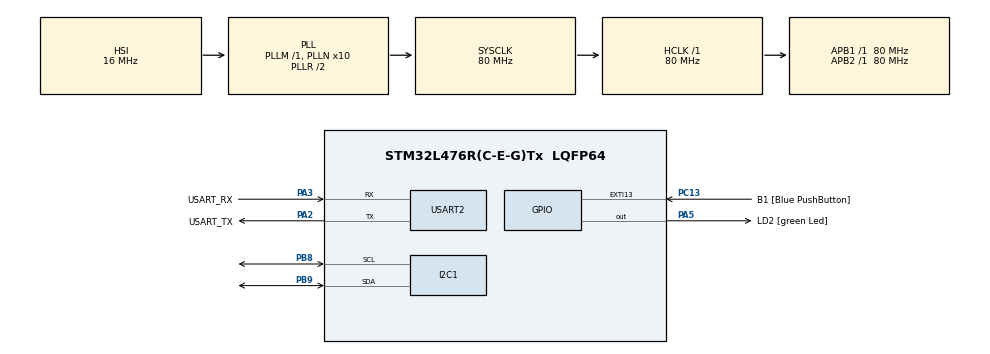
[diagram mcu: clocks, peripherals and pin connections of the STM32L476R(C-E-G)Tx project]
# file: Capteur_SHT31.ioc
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I2C1.Timing=0x10909CEC
Mcu.Family=STM32L4
Mcu.Name=STM32L476R(C-E-G)Tx
Mcu.Package=LQFP64
NVIC.PriorityGroup=NVIC_PRIORITYGROUP_4
PA13\ (JTMS-SWDIO).GPIO_Label=TMS
PA13\ (JTMS-SWDIO).Mode=Serial_Wire
PA13\ (JTMS-SWDIO).Signal=SYS_JTMS-SWDIO
PA14\ (JTCK-SWCLK).GPIO_Label=TCK
PA14\ (JTCK-SWCLK).Mode=Serial_Wire
PA14\ (JTCK-SWCLK).Signal=SYS_JTCK-SWCLK
PA2.GPIO_Label=USART_TX
PA2.GPIO_Mode=GPIO_MODE_AF_PP
PA2.GPIO_PuPd=GPIO_NOPULL
PA2.GPIO_Speed=GPIO_SPEED_FREQ_VERY_HIGH
PA2.Mode=Asynchronous
PA2.Signal=USART2_TX
PA3.GPIO_Label=USART_RX
PA3.GPIO_Mode=GPIO_MODE_AF_PP
PA3.GPIO_PuPd=GPIO_NOPULL
PA3.GPIO_Speed=GPIO_SPEED_FREQ_VERY_HIGH
PA3.Mode=Asynchronous
PA3.Signal=USART2_RX
PA5.GPIO_Label=LD2 [green Led]
PA5.GPIO_ModeDefaultOutputPP=GPIO_MODE_OUTPUT_PP
PA5.GPIO_PuPd=GPIO_NOPULL
PA5.GPIO_Speed=GPIO_SPEED_FREQ_LOW
PA5.Signal=GPIO_Output
PB3\ (JTDO-TRACESWO).GPIO_Label=SWO
PB3\ (JTDO-TRACESWO).Signal=SYS_JTDO-SWO
PB8.Mode=I2C
PB8.Signal=I2C1_SCL
PB9.Mode=I2C
PB9.Signal=I2C1_SDA
PC13.GPIO_Label=B1 [Blue PushButton]
PC13.GPIO_ModeDefaultEXTI=GPIO_MODE_IT_FALLING
PC13.GPIO_PuPd=GPIO_NOPULL
PC13.Signal=GPXTI13
PC14-OSC32_IN\ (PC14).Mode=LSE-External-Oscillator
PC14-OSC32_IN\ (PC14).Signal=RCC_OSC32_IN
PC15-OSC32_OUT\ (PC15).Mode=LSE-External-Oscillator
PC15-OSC32_OUT\ (PC15).Signal=RCC_OSC32_OUT
PH0-OSC_IN\ (PH0).Signal=RCC_OSC_IN
PH1-OSC_OUT\ (PH1).Signal=RCC_OSC_OUT
ProjectManager.HeapSize=0x200
ProjectManager.StackSize=0x400
ProjectManager.TargetToolchain=STM32CubeIDE
RCC.ADCFreq_Value=64000000
RCC.AHBFreq_Value=80000000
RCC.APB1Freq_Value=80000000
RCC.APB1TimFreq_Value=80000000
RCC.APB2Freq_Value=80000000
RCC.APB2TimFreq_Value=80000000
RCC.CortexFreq_Value=80000000
RCC.HCLKFreq_Value=80000000
RCC.HSE_VALUE=8000000
RCC.HSI_VALUE=16000000
RCC.MSI_VALUE=4000000
RCC.PLLN=10
RCC.PLLSourceVirtual=RCC_PLLSOURCE_HSI
RCC.PREFETCH_ENABLE=1
RCC.SYSCLKFreq_VALUE=80000000
RCC.SYSCLKSource=RCC_SYSCLKSOURCE_PLLCLK
RCC.USBFreq_Value=64000000
RCC.VCOOutputFreq_Value=160000000
USART2.VirtualMode-Asynchronous=VM_ASYNC
board=NUCLEO-L476RG

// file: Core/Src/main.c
/* USER CODE BEGIN Header */
/**
  ******************************************************************************
  * @file           : main.c
  * @brief          : Main program body
  ******************************************************************************
  * @attention
  *
  * Copyright (c) 2026 STMicroelectronics.
  * All rights reserved.
  *
  * This software is licensed under terms that can be found in the LICENSE file
  * in the root directory of this software component.
  * If no LICENSE file comes with this software, it is provided AS-IS.
  *
  ******************************************************************************
  */
/* USER CODE END Header */
#include "main.h"
#include "i2c.h"
#include "usart.h"
#include "gpio.h"

/* USER CODE BEGIN Includes */
#include "lcd.h"
#include "sht31.h"
/* USER CODE END Includes */

/* USER CODE BEGIN PV */
rgb_lcd lcd;
float temp, hum;
char lcd_line[20];
/* USER CODE END PV */

void SystemClock_Config(void);

int main(void)
{

  /* MCU Configuration--------------------------------------------------------*/

  /* Reset of all peripherals, Initializes the Flash interface and the Systick. */
  HAL_Init();

  /* Configure the system clock */
  SystemClock_Config();

  /* Initialize all configured peripherals */
  MX_GPIO_Init();
  MX_USART2_UART_Init();
  MX_I2C1_Init();
  /* USER CODE BEGIN 2 */
  lcd_init(&hi2c1, &lcd);      // init LCD

  HAL_StatusTypeDef lcd_status;
  HAL_StatusTypeDef sht31_status;

  lcd_status = HAL_I2C_IsDeviceReady(&hi2c1, LCD_ADDRESS, 5, 100);
  sht31_status = HAL_I2C_IsDeviceReady(&hi2c1, SHT31_ADDR, 5, 100);

  int hum_i, temp_i;
  lcd_init(&hi2c1, &lcd);

  if (sht31_status == HAL_OK)
  {
      lcd_position(&hi2c1, 0, 0);
      lcd_print(&hi2c1, "Capteur OK");
      reglagecouleur(255,1,1);
      HAL_Delay(2000);

  /* USER CODE END 2 */

  /* Infinite loop */
      while (1)
      {

    /* USER CODE BEGIN 3 */

	      if (SHT31_Read(&temp, &hum) == HAL_OK)
	          {
	              // conversion simple
	              temp_i = (int)(temp * 10);   // ex: 23.4 -> 234
	              hum_i  = (int)(hum * 10);    // ex: 56.7 -> 567

	              clearlcd();

	              // Ligne 1 : Temperature
	              lcd_position(&hi2c1, 0, 0);
	              lcd_print(&hi2c1, "T:");
	              lcd_write(&hi2c1, (temp_i / 100) + '0');
	              lcd_write(&hi2c1, ((temp_i / 10) % 10) + '0');
	              lcd_print(&hi2c1, ".");
	              lcd_write(&hi2c1, (temp_i % 10) + '0');
	              lcd_print(&hi2c1, " C");

	              // Ligne 2 : Humidite
	              lcd_position(&hi2c1, 0, 1);
	              lcd_print(&hi2c1, "H:");
	              lcd_write(&hi2c1, (hum_i / 100) + '0');
	              lcd_write(&hi2c1, ((hum_i / 10) % 10) + '0');
	              lcd_print(&hi2c1, ".");
	              lcd_write(&hi2c1, (hum_i % 10) + '0');
	              lcd_print(&hi2c1, " %");

	              HAL_Delay(600);

	          }
	          else
	          {
	              clearlcd();
	              lcd_position(&hi2c1, 0, 0);
	              lcd_print(&hi2c1, "SHT31 ERROR");
	          }
	      }

}

  /* USER CODE END 3 */
}

void SystemClock_Config(void)
{
  RCC_OscInitTypeDef RCC_OscInitStruct = {0};
  RCC_ClkInitTypeDef RCC_ClkInitStruct = {0};

  /** Configure the main internal regulator output voltage
  */
  if (HAL_PWREx_ControlVoltageScaling(PWR_REGULATOR_VOLTAGE_SCALE1) != HAL_OK)
  {
    Error_Handler();
  }

  /** Initializes the RCC Oscillators according to the specified parameters
  * in the RCC_OscInitTypeDef structure.
  */
  RCC_OscInitStruct.OscillatorType = RCC_OSCILLATORTYPE_HSI;
  RCC_OscInitStruct.HSIState = RCC_HSI_ON;
  RCC_OscInitStruct.HSICalibrationValue = RCC_HSICALIBRATION_DEFAULT;
  RCC_OscInitStruct.PLL.PLLState = RCC_PLL_ON;
  RCC_OscInitStruct.PLL.PLLSource = RCC_PLLSOURCE_HSI;
  RCC_OscInitStruct.PLL.PLLM = 1;
  RCC_OscInitStruct.PLL.PLLN = 10;
  RCC_OscInitStruct.PLL.PLLP = RCC_PLLP_DIV7;
  RCC_OscInitStruct.PLL.PLLQ = RCC_PLLQ_DIV2;
  RCC_OscInitStruct.PLL.PLLR = RCC_PLLR_DIV2;
  if (HAL_RCC_OscConfig(&RCC_OscInitStruct) != HAL_OK)
  {
    Error_Handler();
  }

  /** Initializes the CPU, AHB and APB buses clocks
  */
  RCC_ClkInitStruct.ClockType = RCC_CLOCKTYPE_HCLK|RCC_CLOCKTYPE_SYSCLK
                              |RCC_CLOCKTYPE_PCLK1|RCC_CLOCKTYPE_PCLK2;
  RCC_ClkInitStruct.SYSCLKSource = RCC_SYSCLKSOURCE_PLLCLK;
  RCC_ClkInitStruct.AHBCLKDivider = RCC_SYSCLK_DIV1;
  RCC_ClkInitStruct.APB1CLKDivider = RCC_HCLK_DIV1;
  RCC_ClkInitStruct.APB2CLKDivider = RCC_HCLK_DIV1;

  if (HAL_RCC_ClockConfig(&RCC_ClkInitStruct, FLASH_LATENCY_4) != HAL_OK)
  {
    Error_Handler();
  }
}

void Error_Handler(void)
{
  __disable_irq();
  while (1)
  {
  }
}
